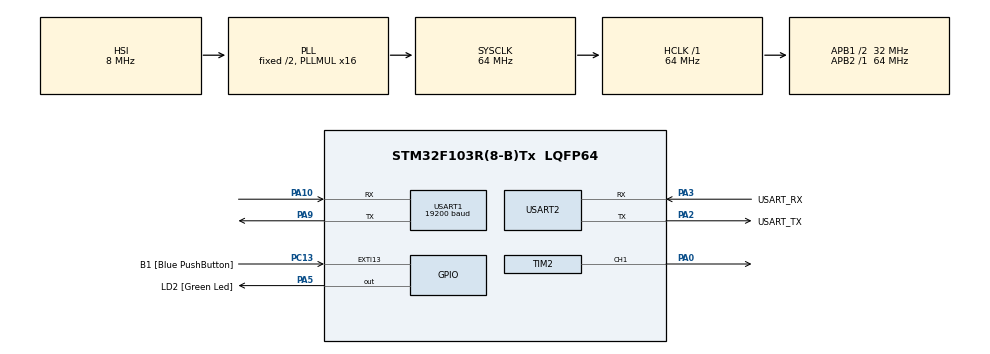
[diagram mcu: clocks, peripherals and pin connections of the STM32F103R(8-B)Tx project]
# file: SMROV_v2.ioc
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FREERTOS.Tasks01=defaultTask,24,128,StartDefaultTask,Default,NULL,Dynamic,NULL,NULL
FREERTOS.configUSE_NEWLIB_REENTRANT=1
Mcu.Family=STM32F1
Mcu.Name=STM32F103R(8-B)Tx
Mcu.Package=LQFP64
NVIC.EXTI15_10_IRQn=true\:5\:0\:false\:false\:true\:true\:true\:true\:true
NVIC.PriorityGroup=NVIC_PRIORITYGROUP_4
NVIC.TIM4_IRQn=true\:15\:0\:false\:false\:true\:false\:false\:true\:true
NVIC.TimeBase=TIM4_IRQn
NVIC.TimeBaseIP=TIM4
NVIC.USART1_IRQn=true\:5\:0\:false\:false\:true\:true\:true\:true\:true
PA0-WKUP.Signal=S_TIM2_CH1_ETR
PA10.Mode=Asynchronous
PA10.Signal=USART1_RX
PA13.GPIO_Label=TMS
PA13.Mode=Serial_Wire
PA13.Signal=SYS_JTMS-SWDIO
PA14.GPIO_Label=TCK
PA14.Mode=Serial_Wire
PA14.Signal=SYS_JTCK-SWCLK
PA2.GPIO_Label=USART_TX
PA2.GPIO_Mode=GPIO_MODE_AF_PP
PA2.GPIO_PuPd=GPIO_NOPULL
PA2.GPIO_Speed=GPIO_SPEED_FREQ_LOW
PA2.Mode=Asynchronous
PA2.Signal=USART2_TX
PA3.GPIO_Label=USART_RX
PA3.GPIO_Mode=GPIO_MODE_AF_PP
PA3.GPIO_PuPd=GPIO_NOPULL
PA3.GPIO_Speed=GPIO_SPEED_FREQ_LOW
PA3.Mode=Asynchronous
PA3.Signal=USART2_RX
PA5.GPIO_Label=LD2 [Green Led]
PA5.GPIO_ModeDefaultOutputPP=GPIO_MODE_OUTPUT_PP
PA5.GPIO_PuPd=GPIO_NOPULL
PA5.GPIO_Speed=GPIO_SPEED_FREQ_LOW
PA5.Signal=GPIO_Output
PA9.Mode=Asynchronous
PA9.Signal=USART1_TX
PB3.GPIO_Label=SWO
PB3.Signal=SYS_JTDO-TRACESWO
PC13-TAMPER-RTC.GPIO_Label=B1 [Blue PushButton]
PC13-TAMPER-RTC.GPIO_PuPd=GPIO_NOPULL
PC13-TAMPER-RTC.Signal=GPXTI13
PC14-OSC32_IN.Signal=RCC_OSC32_IN
PC15-OSC32_OUT.Signal=RCC_OSC32_OUT
PD0-OSC_IN.Mode=HSE-External-Oscillator
PD0-OSC_IN.Signal=RCC_OSC_IN
PD1-OSC_OUT.Mode=HSE-External-Oscillator
PD1-OSC_OUT.Signal=RCC_OSC_OUT
ProjectManager.HeapSize=0x200
ProjectManager.StackSize=0x400
ProjectManager.TargetToolchain=STM32CubeIDE
RCC.AHBFreq_Value=64000000
RCC.APB1CLKDivider=RCC_HCLK_DIV2
RCC.APB1Freq_Value=32000000
RCC.APB1TimFreq_Value=64000000
RCC.APB2Freq_Value=64000000
RCC.APB2TimFreq_Value=64000000
RCC.HCLKFreq_Value=64000000
RCC.PLLMUL=RCC_PLL_MUL16
RCC.RTCClockSelection=RCC_RTCCLKSOURCE_LSE
RCC.SYSCLKFreq_VALUE=64000000
RCC.SYSCLKSource=RCC_SYSCLKSOURCE_PLLCLK
RCC.USBFreq_Value=64000000
SH.S_TIM2_CH1_ETR.0=TIM2_CH1,PWM Generation1 CH1
TIM2.Channel-PWM\ Generation1\ CH1=TIM_CHANNEL_1
TIM2.Period=999
TIM2.Prescaler=159
USART1.BaudRate=19200
USART1.VirtualMode=VM_ASYNC
USART2.VirtualMode=VM_ASYNC
VP_FREERTOS_VS_CMSIS_V2.Mode=CMSIS_V2
VP_SYS_VS_tim4.Mode=TIM4
board=NUCLEO-F103RB

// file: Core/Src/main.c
/* USER CODE BEGIN Header */
/**
  ******************************************************************************
  * @file           : main.c
  * @brief          : Main program body
  ******************************************************************************
  * @attention
  *
  * Copyright (c) 2022 STMicroelectronics.
  * All rights reserved.
  *
  * This software is licensed under terms that can be found in the LICENSE file
  * in the root directory of this software component.
  * If no LICENSE file comes with this software, it is provided AS-IS.
  *
  ******************************************************************************
  */
/* USER CODE END Header */
#include "main.h"
#include "cmsis_os.h"

/* USER CODE BEGIN PTD */
#define BUFF_SIZE 1024

typedef struct ringbuffer{
uint8_t buffer[BUFF_SIZE];
uint8_t temp;//read data in rx port
uint8_t rxd;//read data in buff
volatile uint16_t write_idx;
volatile uint16_t read_idx;
}rb;
volatile int value = 0;
volatile uint8_t moter_mode = 'b';
/* USER CODE END PTD */

TIM_HandleTypeDef htim2;

UART_HandleTypeDef huart1;
UART_HandleTypeDef huart2;

/* Definitions for defaultTask */

osThreadId_t defaultTaskHandle;
const osThreadAttr_t defaultTask_attributes = {
  .name = "defaultTask",
  .stack_size = 128 * 4,
  .priority = (osPriority_t) osPriorityLow,
};

osThreadId_t recvTaskHandle;
const osThreadAttr_t recvTask_attributes = {
	.name = "recvTask",
	.stack_size = 128 * 4,
	.priority = (osPriority_t) osPriorityIdle,
};

osThreadId_t motorTaskHandle;
const osThreadAttr_t motorTask_attributes = {
	.name = "motorTask",
	.stack_size = 128 * 4,
	.priority = (osPriority_t) osPriorityIdle,
};
//https://m.blog.naver.com/PostView.naver?isHttpsRedirect=true&blogId=oh930418&logNo=221152205204

void SystemClock_Config(void);
static void MX_GPIO_Init(void);
static void MX_USART2_UART_Init(void);
static void MX_USART1_UART_Init(void);
static void MX_TIM2_Init(void);
void moter_control(void);
rb data;
void ringbuff_init(void)
{
	data.read_idx = 0;
	data.write_idx = 0;
}
void StartDefaultTask(void *argument);
void recvTask(void *argument);
void motorTask(void *argument);

int main(void)
{

/* Reset of all peripherals, Initializes the Flash interface and the Systick. */
 HAL_Init();

/* Configure the system clock */
 SystemClock_Config();

/* Initialize all configured peripherals */
 MX_GPIO_Init();
 MX_USART2_UART_Init();
 MX_USART1_UART_Init();
 MX_TIM2_Init();
 HAL_TIM_PWM_Start(&htim2,TIM_CHANNEL_1);
/* USER CODE BEGIN 2 */
 HAL_UART_Receive_IT(&huart1, &data.temp, 1);
/* USER CODE END 2 */

/* Init scheduler */
 osKernelInitialize();

/* Create the thread(s) */
/* creation of defaultTask */
 defaultTaskHandle = osThreadNew(StartDefaultTask, NULL, &defaultTask_attributes);
 recvTaskHandle = osThreadNew(recvTask, NULL, &recvTask_attributes);
 motorTaskHandle = osThreadNew(motorTask, NULL, &motorTask_attributes);

/* Start scheduler */
 osKernelStart();

/* We should never get here as control is now taken by the scheduler */
/* Infinite loop */
while (1)
{

}
}

void moter_control(void)//if rtos >> motor_control == motorTask
{
	if(moter_mode == 'h')
	{
		//high active
		value = 120;
		TIM2 -> CCR1 = value;
		HAL_GPIO_WritePin(LD2_GPIO_Port, LD2_Pin, GPIO_PIN_SET);
	}
	else if(moter_mode == 'l')
	{
		//low active
		value = 30;
		TIM2 -> CCR1 = value;
		HAL_GPIO_WritePin(LD2_GPIO_Port, LD2_Pin, GPIO_PIN_RESET);
	}
	else if(moter_mode == 'w')
	{
		//forward
	}
	else if(moter_mode == 'a')
	{
		//backward
	}
	else if(moter_mode == 's')
	{
		//left turn
	}
	else if(moter_mode == 'd')
	{
		//right turn
	}
	else if(moter_mode == 'b')
	{
		//break

	}
}

void USART1_IRQHaldler(void)
{
	HAL_UART_IRQHandler(&huart1);
}
void HAL_UART_RxCpltCallback(UART_HandleTypeDef *huart)
{
	if(huart->Instance == USART1)
	{
		data.buffer[data.write_idx++] = data.temp;
		if(data.write_idx >= BUFF_SIZE)
		{
			data.write_idx = 0;
		}
		vTaskPrioritySet( recvTask, (osPriority_t) osPriorityLow );
		vTaskPrioritySet( moterTask, (osPriority_t) osPriorityLow );
		HAL_UART_Receive_IT(&huart1, &data.temp, 1);
	}
}

void SystemClock_Config(void)
{
 RCC_OscInitTypeDef RCC_OscInitStruct = {0};
 RCC_ClkInitTypeDef RCC_ClkInitStruct = {0};

 /** Initializes the RCC Oscillators according to the specified parameters
  * in the RCC_OscInitTypeDef structure.
  */
 RCC_OscInitStruct.OscillatorType = RCC_OSCILLATORTYPE_HSI;
 RCC_OscInitStruct.HSIState = RCC_HSI_ON;
 RCC_OscInitStruct.HSICalibrationValue = RCC_HSICALIBRATION_DEFAULT;
 RCC_OscInitStruct.PLL.PLLState = RCC_PLL_ON;
 RCC_OscInitStruct.PLL.PLLSource = RCC_PLLSOURCE_HSI_DIV2;
 RCC_OscInitStruct.PLL.PLLMUL = RCC_PLL_MUL16;
 if (HAL_RCC_OscConfig(&RCC_OscInitStruct) != HAL_OK)
 {
	 Error_Handler();
 }

 /** Initializes the CPU, AHB and APB buses clocks
  */
 RCC_ClkInitStruct.ClockType = RCC_CLOCKTYPE_HCLK|RCC_CLOCKTYPE_SYSCLK
 |RCC_CLOCKTYPE_PCLK1|RCC_CLOCKTYPE_PCLK2;
 RCC_ClkInitStruct.SYSCLKSource = RCC_SYSCLKSOURCE_PLLCLK;
 RCC_ClkInitStruct.AHBCLKDivider = RCC_SYSCLK_DIV1;
 RCC_ClkInitStruct.APB1CLKDivider = RCC_HCLK_DIV2;
 RCC_ClkInitStruct.APB2CLKDivider = RCC_HCLK_DIV1;

 if (HAL_RCC_ClockConfig(&RCC_ClkInitStruct, FLASH_LATENCY_2) != HAL_OK)
 {
	Error_Handler();
 }
}

static void MX_TIM2_Init(void)
{

 TIM_MasterConfigTypeDef sMasterConfig = {0};
 TIM_OC_InitTypeDef sConfigOC = {0};

 htim2.Instance = TIM2;
 htim2.Init.Prescaler = 159;
 htim2.Init.CounterMode = TIM_COUNTERMODE_UP;
 htim2.Init.Period = 999;
 htim2.Init.ClockDivision = TIM_CLOCKDIVISION_DIV1;
 htim2.Init.AutoReloadPreload = TIM_AUTORELOAD_PRELOAD_DISABLE;
 if (HAL_TIM_PWM_Init(&htim2) != HAL_OK)
 {
	Error_Handler();
 }
 sMasterConfig.MasterOutputTrigger = TIM_TRGO_RESET;
 sMasterConfig.MasterSlaveMode = TIM_MASTERSLAVEMODE_DISABLE;
 if (HAL_TIMEx_MasterConfigSynchronization(&htim2, &sMasterConfig) != HAL_OK)
 {
	Error_Handler();
 }
 sConfigOC.OCMode = TIM_OCMODE_PWM1;
 sConfigOC.Pulse = 0;
 sConfigOC.OCPolarity = TIM_OCPOLARITY_HIGH;
 sConfigOC.OCFastMode = TIM_OCFAST_DISABLE;
 if (HAL_TIM_PWM_ConfigChannel(&htim2, &sConfigOC, TIM_CHANNEL_1) != HAL_OK)
 {
	Error_Handler();
 }
 HAL_TIM_MspPostInit(&htim2);

}

static void MX_USART1_UART_Init(void)
{

 huart1.Instance = USART1;
 huart1.Init.BaudRate = 19200;
 huart1.Init.WordLength = UART_WORDLENGTH_8B;
 huart1.Init.StopBits = UART_STOPBITS_1;
 huart1.Init.Parity = UART_PARITY_NONE;
 huart1.Init.Mode = UART_MODE_TX_RX;
 huart1.Init.HwFlowCtl = UART_HWCONTROL_NONE;
 huart1.Init.OverSampling = UART_OVERSAMPLING_16;
 if (HAL_UART_Init(&huart1) != HAL_OK)
 {
	Error_Handler();
 }

}

static void MX_USART2_UART_Init(void)
{

 huart2.Instance = USART2;
 huart2.Init.BaudRate = 115200;
 huart2.Init.WordLength = UART_WORDLENGTH_8B;
 huart2.Init.StopBits = UART_STOPBITS_1;
 huart2.Init.Parity = UART_PARITY_NONE;
 huart2.Init.Mode = UART_MODE_TX_RX;
 huart2.Init.HwFlowCtl = UART_HWCONTROL_NONE;
 huart2.Init.OverSampling = UART_OVERSAMPLING_16;
 if (HAL_UART_Init(&huart2) != HAL_OK)
 {
	Error_Handler();
 }

}

static void MX_GPIO_Init(void)
{
 GPIO_InitTypeDef GPIO_InitStruct = {0};

 /* GPIO Ports Clock Enable */
 __HAL_RCC_GPIOC_CLK_ENABLE();
 __HAL_RCC_GPIOD_CLK_ENABLE();
 __HAL_RCC_GPIOA_CLK_ENABLE();
 __HAL_RCC_GPIOB_CLK_ENABLE();

 /*Configure GPIO pin Output Level */
 HAL_GPIO_WritePin(LD2_GPIO_Port, LD2_Pin, GPIO_PIN_RESET);

 /*Configure GPIO pin : B1_Pin */
 GPIO_InitStruct.Pin = B1_Pin;
 GPIO_InitStruct.Mode = GPIO_MODE_IT_RISING;
 GPIO_InitStruct.Pull = GPIO_NOPULL;
 HAL_GPIO_Init(B1_GPIO_Port, &GPIO_InitStruct);

 /*Configure GPIO pin : LD2_Pin */
 GPIO_InitStruct.Pin = LD2_Pin;
 GPIO_InitStruct.Mode = GPIO_MODE_OUTPUT_PP;
 GPIO_InitStruct.Pull = GPIO_NOPULL;
 GPIO_InitStruct.Speed = GPIO_SPEED_FREQ_LOW;
 HAL_GPIO_Init(LD2_GPIO_Port, &GPIO_InitStruct);

 /* EXTI interrupt init*/
 HAL_NVIC_SetPriority(EXTI15_10_IRQn, 5, 0);
 HAL_NVIC_EnableIRQ(EXTI15_10_IRQn);

}

/* USER CODE BEGIN Header_StartDefaultTask */
/**
  * @brief  Function implementing the defaultTask thread.
  * @param  argument: Not used
  * @retval None
  */
/* USER CODE END Header_StartDefaultTask */

void StartDefaultTask(void *argument)
{
  for(;;)
  {
    osDelay(1);
  }
}

void recvTask(void *argument)
{
 /* USER CODE BEGIN 5 */
 /* Infinite loop */
	while(data.read_idx < data.write_idx)
	{
		moter_mode = data.buffer[data.read_idx++];
		if(data.read_idx >= BUFF_SIZE)
			data.read_idx = 0;
	}
	vTaskPrioritySet( recvTask, (osPriority_t) osPriorityIdle );
	osDelay(1);
 /* USER CODE END 5 */
}

void motorTask(void *argument)
{
 /* USER CODE BEGIN 5 */
 /* Infinite loop */
 for(;;)
	{
	moter_control();
	vTaskPrioritySet( motorTask, (osPriority_t) osPriorityIdle );
	osDelay(1);
	}
 /* USER CODE END 5 */
}

void HAL_TIM_PeriodElapsedCallback(TIM_HandleTypeDef *htim)
{
 if (htim->Instance == TIM4) {
	HAL_IncTick();
 }
}

void Error_Handler(void)
{
 __disable_irq();
 while (1)
 {
 }
}
